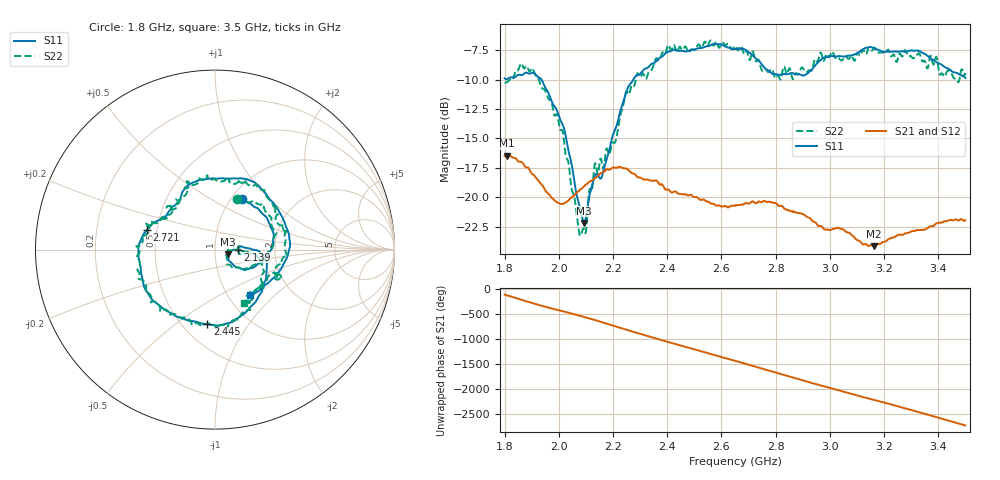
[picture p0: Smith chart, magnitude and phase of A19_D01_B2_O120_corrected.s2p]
! Created with skrf 1.9.0 (http://scikit-rf.org).
# Hz S RI R 50.0
!freq ReS11 ImS11 ReS21 ImS21 ReS12 ImS12 ReS22 ImS22
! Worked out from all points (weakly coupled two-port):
!   1601 points, 1.8 GHz to 3.5 GHz, reference 50 ohm
!   highest |S21| = -16.45 dB at 1.808 GHz (marker M1); lowest = -24.1 dB at 3.163 GHz (marker M2)
!   lowest |S11| = -22.2 dB at 2.093 GHz (marker M3), VSWR 1.17, Z = 57.8 - j3.03 ohm
!   |S11| at or under -10 dB: 1.936 GHz to 2.275 GHz (339.3 MHz wide, 16.1 % of centre)
!   |S22| runs from -23.3 to -6.7 dB; largest |S21 - S12| = 0.0029
!   S11 on the Smith chart (normalised r, x): 1.8 GHz: 1.12, +0.70; 2.139 GHz: 1.29, -0.00; 2.445 GHz: 0.66, -0.66; 2.721 GHz: 0.44, +0.12; 3.5 GHz: 1.26, -0.72
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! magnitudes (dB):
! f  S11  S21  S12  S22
! 1.8 GHz  -9.9  -16.5  -16.5  -10.3
! 1.808 GHz  -10.0  -16.5  -16.5  -10.2
! 1.902 GHz  -9.4  -18.0  -18.0  -9.0
! 1.969 GHz  -11.6  -19.9  -19.9  -11.7
! 2.02 GHz  -14.2  -20.5  -20.5  -15.4
! 2.084 GHz  -21.4  -19.3  -19.2  -23.0
! 2.093 GHz  -22.2  -19.0  -19.1  -22.7
! 2.139 GHz  -18.0  -18.3  -18.3  -17.5
! 2.16 GHz  -18.1  -17.9  -17.8  -17.3
! 2.208 GHz  -14.2  -17.5  -17.5  -15.3
! 2.258 GHz  -10.5  -17.7  -17.7  -11.3
! 2.367 GHz  -8.3  -18.8  -18.7  -8.4
! 2.445 GHz  -7.6  -19.7  -19.7  -7.2
! 2.65 GHz  -7.4  -20.7  -20.7  -7.2
! 2.721 GHz  -8.1  -20.4  -20.4  -8.0
! 2.81 GHz  -9.6  -20.7  -20.6  -9.7
! 2.934 GHz  -9.2  -22.0  -21.9  -9.2
! 3.163 GHz  -7.3  -24.1  -24.1  -7.3
! 3.217 GHz  -7.6  -23.5  -23.5  -7.5
! 3.328 GHz  -7.6  -22.8  -22.7  -7.8
! 3.415 GHz  -8.8  -22.1  -22.1  -9.5
! 3.5 GHz  -9.9  -21.9  -21.9  -9.4
